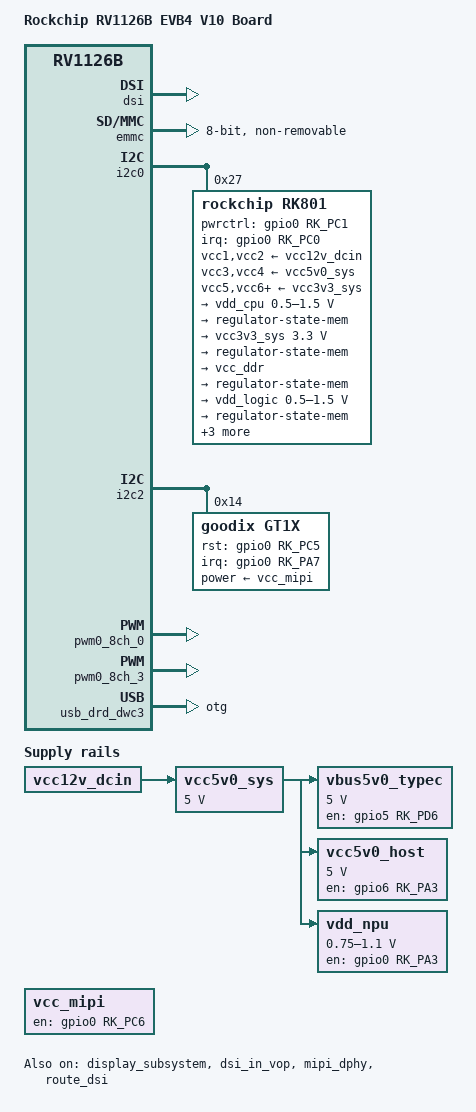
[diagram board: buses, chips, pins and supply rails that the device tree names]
// SPDX-License-Identifier: (GPL-2.0+ OR MIT)
/*
 * Copyright (c) 2025 Rockchip Electronics Co., Ltd.
 */

/dts-v1/;
#include "rv1126b.dtsi"
#include "rv1126b-evb.dtsi"
#include "rv1126b-evb-cam-csi0.dtsi"

/ {
	model = "Rockchip RV1126B EVB4 V10 Board";
	compatible = "rockchip,rv1126b-evb4-v10", "rockchip,rv1126b";

	vcc_mipi: vcc-mipi {
		compatible = "regulator-fixed";
		regulator-name = "vcc_mipi";
		gpio = <&gpio0 RK_PC6 GPIO_ACTIVE_HIGH>;
		enable-active-high;
		regulator-boot-on;
	};

	vcc5v0_sys: vcc5v0-sys {
		compatible = "regulator-fixed";
		regulator-name = "vcc5v0_sys";
		regulator-always-on;
		regulator-boot-on;
		regulator-min-microvolt = <5000000>;
		regulator-max-microvolt = <5000000>;
		vin-supply = <&vcc12v_dcin>;
		status = "okay";
	};

	vbus5v0_typec: vbus5v0-typec {
		compatible = "regulator-fixed";
		regulator-name = "vbus5v0_typec";
		regulator-min-microvolt = <5000000>;
		regulator-max-microvolt = <5000000>;
		enable-active-high;
		gpio = <&gpio5 RK_PD6 GPIO_ACTIVE_HIGH>;
		vin-supply = <&vcc5v0_sys>;
		pinctrl-names = "default";
		pinctrl-0 = <&typec5v_pwren>;
	};

	vcc5v0_host: vcc5v0-host {
		compatible = "regulator-fixed";
		regulator-name = "vcc5v0_host";
		regulator-boot-on;
		regulator-always-on;
		regulator-min-microvolt = <5000000>;
		regulator-max-microvolt = <5000000>;
		enable-active-high;
		gpio = <&gpio6 RK_PA3 GPIO_ACTIVE_HIGH>;
		vin-supply = <&vcc5v0_sys>;
		pinctrl-names = "default";
		pinctrl-0 = <&vcc5v0_host_en>;
	};

	vdd_npu: vdd-npu {
		compatible = "pwm-regulator";
		pwms = <&pwm0_8ch_0 0 25000 1>;
		regulator-name = "vdd_npu";
		regulator-init-microvolt = <950000>;
		regulator-min-microvolt = <750000>;
		regulator-max-microvolt = <1100000>;
		regulator-always-on;
		regulator-boot-on;
		enable-gpios = <&gpio0 RK_PA3 GPIO_ACTIVE_HIGH>;
		pwm-supply = <&vcc5v0_sys>;
	};
};

&backlight {
	pwms = <&pwm0_8ch_3 0 25000 0>;
};

&cpu0 {
	cpu-supply = <&vdd_cpu>;
};

&display_subsystem {
	status = "okay";
};

&dsi {
	status = "okay";
};

&dsi_in_vop {
	status = "okay";
};

&dsi_panel {
	power-supply = <&vcc_mipi>;
};

&emmc {
	bus-width = <8>;
	cap-mmc-highspeed;
	non-removable;
	mmc-hs200-1_8v;
	rockchip,default-sample-phase = <90>;
	no-sdio;
	no-sd;
	status = "okay";
};

&i2c0 {
	status = "okay";

	rk801: rk801@27 {
		compatible = "rockchip,rk801";
		status = "okay";
		reg = <0x27>;
		interrupt-parent = <&gpio0>;
		interrupts = <RK_PC0 IRQ_TYPE_LEVEL_LOW>;
		pwrctrl-gpios = <&gpio0 RK_PC1 GPIO_ACTIVE_HIGH>;

		pinctrl-names = "default";
		pinctrl-0 = <&pmic_int>;
		rockchip,system-power-controller;
		wakeup-source;

		vcc1-supply = <&vcc12v_dcin>;
		vcc2-supply = <&vcc12v_dcin>;
		vcc3-supply = <&vcc5v0_sys>;
		vcc4-supply = <&vcc5v0_sys>;
		vcc5-supply = <&vcc3v3_sys>;
		vcc6-supply = <&vcc3v3_sys>;
		vcc7-supply = <&vcc3v3_sys>;

		regulators {
			vdd_cpu: DCDC_REG1 {
				regulator-name = "vdd_cpu";
				regulator-min-microvolt = <500000>;
				regulator-max-microvolt = <1500000>;
				regulator-initial-mode = <0x1>;
				regulator-boot-on;
				regulator-always-on;
				regulator-state-mem {
					regulator-mode = <0x2>;
					regulator-on-in-suspend;
					regulator-suspend-microvolt = <950000>;
				};
			};

			vcc3v3_sys: DCDC_REG2 {
				regulator-name = "vcc3v3_sys";
				regulator-min-microvolt = <3300000>;
				regulator-max-microvolt = <3300000>;
				regulator-initial-mode = <0x1>;
				regulator-boot-on;
				regulator-always-on;
				regulator-state-mem {
					regulator-mode = <0x2>;
					regulator-on-in-suspend;
					regulator-suspend-microvolt = <3300000>;
				};
			};

			vcc_ddr: DCDC_REG3 {
				regulator-name = "vcc_ddr";
				regulator-boot-on;
				regulator-always-on;
				regulator-state-mem {
					regulator-mode = <0x2>;
					regulator-on-in-suspend;
				};
			};

			vdd_logic: DCDC_REG4 {
				regulator-name = "vdd_logic";
				regulator-min-microvolt = <500000>;
				regulator-max-microvolt = <1500000>;
				regulator-initial-mode = <0x1>;
				regulator-boot-on;
				regulator-always-on;
				regulator-state-mem {
					regulator-mode = <0x2>;
					regulator-on-in-suspend;
					regulator-suspend-microvolt = <5000000>;
				};
			};

			vdd0v9_sys: LDO_REG1 {
				regulator-name = "vdd0v9_sys";
				regulator-min-microvolt = <900000>;
				regulator-max-microvolt = <900000>;
				regulator-boot-on;
				regulator-always-on;
				regulator-state-mem {
					regulator-on-in-suspend;
					regulator-suspend-microvolt = <900000>;
				};
			};

			vcc_1v8: LDO_REG2 {
				regulator-name = "vcc_1v8";
				regulator-min-microvolt = <1800000>;
				regulator-max-microvolt = <1800000>;
				regulator-boot-on;
				regulator-always-on;
				regulator-state-mem {
					regulator-on-in-suspend;
					regulator-suspend-microvolt = <1800000>;
				};
			};

			vcc_3v3: SWITCH_REG1 {
				regulator-name = "vcc_3v3";
				regulator-boot-on;
				regulator-always-on;
				regulator-state-mem {
					regulator-on-in-suspend;
				};
			};
		};
	};
};

&i2c2 {
	status = "okay";

	gt1x: gt1x@14 {
		compatible = "goodix,gt1x";
		reg = <0x14>;
		pinctrl-names = "default";
		power-supply = <&vcc_mipi>;
		goodix,rst-gpio = <&gpio0 RK_PC5 GPIO_ACTIVE_HIGH>;
		goodix,irq-gpio = <&gpio0 RK_PA7 IRQ_TYPE_LEVEL_LOW>;
	};
};

&mipi_dphy {
	status = "okay";
};

&pinctrl {
	pmic {
		pmic_int: pmic-int {
			rockchip,pins = <0 RK_PC0 RK_FUNC_GPIO &pcfg_pull_up>;
		};
	};

	usb {
		typec5v_pwren: typec5v-pwren {
			rockchip,pins = <5 RK_PD6 RK_FUNC_GPIO &pcfg_pull_none>;
		};

		vcc5v0_host_en: vcc5v0-host-en {
			rockchip,pins = <6 RK_PA3 RK_FUNC_GPIO &pcfg_pull_none>;
		};
	};
};

&pwm0_8ch_0 {
	status = "okay";
};

&pwm0_8ch_3 {
	status = "okay";
};

&rknpu {
	rknpu-supply = <&vdd_npu>;
};

&route_dsi {
	status = "okay";
};

&usb2phy_host {
	phy-supply = <&vcc5v0_host>;
};

&usb2phy_otg {
	vbus-supply = <&vbus5v0_typec>;
};

&usb_drd_dwc3 {
	dr_mode = "otg";
	extcon = <&usb2phy>;
};
